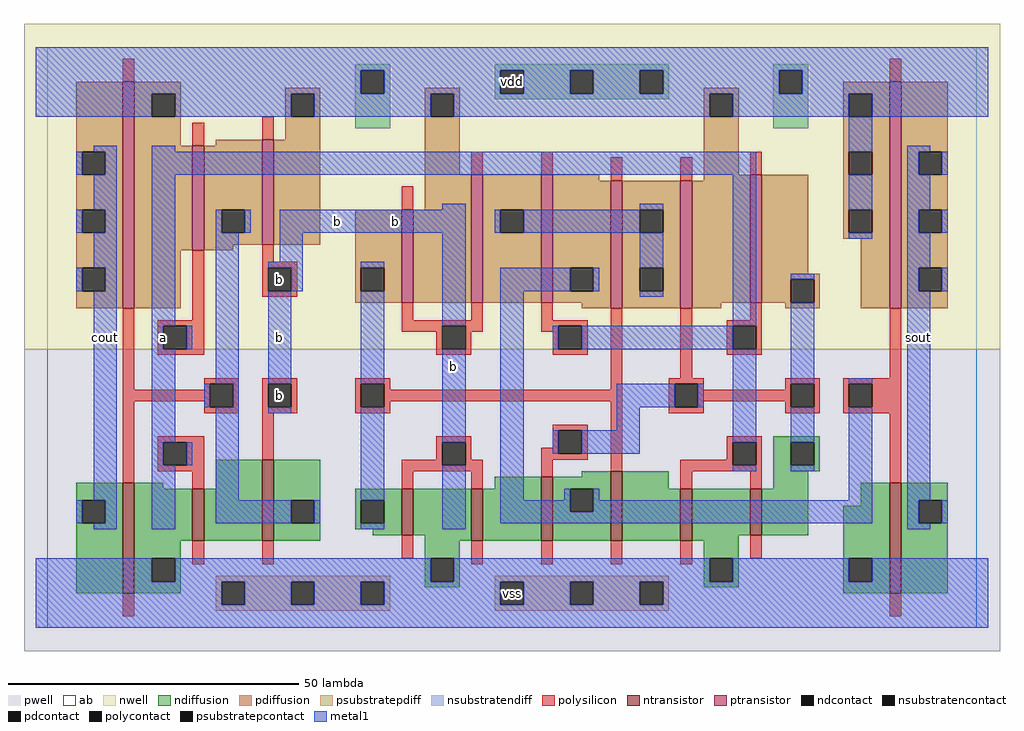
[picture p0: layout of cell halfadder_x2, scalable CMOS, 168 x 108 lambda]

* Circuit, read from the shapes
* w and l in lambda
.subckt halfadder_x2 a b cout sout vdd vss
M1 vss n1 cout vss nfet w=19 l=2
M2 n2 a vss vss nfet w=9 l=2
M3 n1 b n2 vss nfet w=14 l=2
M4 vss b n3 vss nfet w=8 l=2
M5 n4 b vss vss nfet w=9 l=2
M6 n5 n6 n4 vss nfet w=11 l=2
M7 n7 n3 n5 vss nfet w=12 l=2
M8 vss a n7 vss nfet w=9 l=2
M9 n6 a vss vss nfet w=8 l=2
M10 sout n5 vss vss nfet w=19 l=2
M11 vdd n1 cout vdd pfet w=39 l=2
M12 n1 a vdd vdd pfet w=18 l=2
M13 vdd b n1 vdd pfet w=18 l=2
M14 vdd b n3 vdd pfet w=16 l=2
M15 n8 b vdd vdd pfet w=22 l=2
M16 n5 a n8 vdd pfet w=22 l=2
M17 n8 n3 n5 vdd pfet w=22 l=2
M18 vdd n6 n8 vdd pfet w=22 l=2
M19 n6 a vdd vdd pfet w=22 l=2
M20 sout n5 vdd vdd pfet w=39 l=2
.ends

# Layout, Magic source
magic
tech scmos
<< ab >>
rect 0 0 160 100
<< pwell >>
rect -4 -4 164 48
<< nwell >>
rect -4 48 164 104
<< polysilicon >>
rect 13 94 15 98
rect 25 83 27 87
rect 37 84 39 88
rect 73 78 75 82
rect 85 78 87 82
rect 61 72 63 76
rect 13 41 15 55
rect 25 53 27 65
rect 37 63 39 66
rect 37 62 43 63
rect 37 58 38 62
rect 42 58 43 62
rect 37 57 43 58
rect 97 77 99 81
rect 109 77 111 81
rect 145 94 147 98
rect 121 78 123 82
rect 19 52 27 53
rect 19 48 20 52
rect 24 48 27 52
rect 61 53 63 56
rect 73 53 75 56
rect 61 52 75 53
rect 61 51 68 52
rect 19 47 27 48
rect 67 48 68 51
rect 72 51 75 52
rect 85 53 87 56
rect 85 52 93 53
rect 85 51 88 52
rect 72 48 73 51
rect 67 47 73 48
rect 87 48 88 51
rect 92 48 93 52
rect 87 47 93 48
rect 27 42 33 43
rect 27 41 28 42
rect 13 39 28 41
rect 13 25 15 39
rect 27 38 28 39
rect 32 38 33 42
rect 27 37 33 38
rect 37 42 43 43
rect 37 38 38 42
rect 42 38 43 42
rect 37 37 43 38
rect 53 42 59 43
rect 53 38 54 42
rect 58 41 59 42
rect 97 41 99 55
rect 109 43 111 55
rect 121 53 123 56
rect 117 52 123 53
rect 117 48 118 52
rect 122 48 123 52
rect 117 47 123 48
rect 145 43 147 55
rect 58 39 99 41
rect 58 38 59 39
rect 53 37 59 38
rect 19 32 27 33
rect 19 28 20 32
rect 24 28 27 32
rect 37 29 39 37
rect 87 34 93 35
rect 67 32 73 33
rect 67 29 68 32
rect 19 27 27 28
rect 25 24 27 27
rect 61 28 68 29
rect 72 29 73 32
rect 87 31 88 34
rect 85 30 88 31
rect 92 30 93 34
rect 85 29 93 30
rect 72 28 75 29
rect 61 27 75 28
rect 61 24 63 27
rect 73 24 75 27
rect 85 26 87 29
rect 97 27 99 39
rect 107 42 113 43
rect 107 38 108 42
rect 112 41 113 42
rect 127 42 133 43
rect 127 41 128 42
rect 112 39 128 41
rect 112 38 113 39
rect 107 37 113 38
rect 127 38 128 39
rect 132 38 133 42
rect 127 37 133 38
rect 137 42 147 43
rect 137 38 138 42
rect 142 38 147 42
rect 137 37 147 38
rect 117 32 123 33
rect 117 29 118 32
rect 109 28 118 29
rect 122 28 123 32
rect 109 27 123 28
rect 25 11 27 15
rect 37 11 39 15
rect 61 12 63 16
rect 109 24 111 27
rect 121 24 123 27
rect 145 25 147 37
rect 13 2 15 6
rect 73 11 75 15
rect 85 11 87 15
rect 97 11 99 15
rect 109 11 111 15
rect 121 12 123 16
rect 145 2 147 6
<< ndiffusion >>
rect 5 22 13 25
rect 5 18 6 22
rect 10 18 13 22
rect 5 6 13 18
rect 15 24 20 25
rect 29 24 37 29
rect 15 15 25 24
rect 27 15 37 24
rect 39 22 47 29
rect 92 26 97 27
rect 77 24 85 26
rect 39 18 42 22
rect 46 18 47 22
rect 39 15 47 18
rect 53 22 61 24
rect 53 18 54 22
rect 58 18 61 22
rect 53 17 61 18
rect 56 16 61 17
rect 63 16 73 24
rect 15 12 23 15
rect 15 8 18 12
rect 22 8 23 12
rect 65 15 73 16
rect 75 15 85 24
rect 87 24 97 26
rect 87 20 90 24
rect 94 20 97 24
rect 87 15 97 20
rect 99 24 107 27
rect 125 32 133 33
rect 125 28 128 32
rect 132 28 133 32
rect 125 27 133 28
rect 125 24 131 27
rect 99 15 109 24
rect 111 16 121 24
rect 123 16 131 24
rect 140 21 145 25
rect 111 15 119 16
rect 65 12 71 15
rect 15 6 23 8
rect 65 8 66 12
rect 70 8 71 12
rect 113 12 119 15
rect 137 12 145 21
rect 65 7 71 8
rect 113 8 114 12
rect 118 8 119 12
rect 113 7 119 8
rect 137 8 138 12
rect 142 8 145 12
rect 137 6 145 8
rect 147 22 155 25
rect 147 18 150 22
rect 154 18 155 22
rect 147 6 155 18
<< pdiffusion >>
rect 5 82 13 94
rect 5 78 6 82
rect 10 78 13 82
rect 5 72 13 78
rect 5 68 6 72
rect 10 68 13 72
rect 5 62 13 68
rect 5 58 6 62
rect 10 58 13 62
rect 5 55 13 58
rect 15 92 23 94
rect 15 88 18 92
rect 22 88 23 92
rect 41 92 47 93
rect 41 88 42 92
rect 46 88 47 92
rect 15 83 23 88
rect 41 84 47 88
rect 65 92 71 93
rect 65 88 66 92
rect 70 88 71 92
rect 113 92 119 93
rect 29 83 37 84
rect 15 65 25 83
rect 27 72 37 83
rect 27 68 30 72
rect 34 68 37 72
rect 27 66 37 68
rect 39 66 47 84
rect 65 78 71 88
rect 113 88 114 92
rect 118 88 119 92
rect 65 72 73 78
rect 27 65 32 66
rect 15 55 23 65
rect 53 62 61 72
rect 53 58 54 62
rect 58 58 61 62
rect 53 56 61 58
rect 63 56 73 72
rect 75 72 85 78
rect 75 68 78 72
rect 82 68 85 72
rect 75 56 85 68
rect 87 77 95 78
rect 113 78 119 88
rect 137 92 145 94
rect 137 88 138 92
rect 142 88 145 92
rect 137 82 145 88
rect 137 78 138 82
rect 142 78 145 82
rect 113 77 121 78
rect 87 62 97 77
rect 87 58 90 62
rect 94 58 97 62
rect 87 56 97 58
rect 92 55 97 56
rect 99 72 109 77
rect 99 68 102 72
rect 106 68 109 72
rect 99 62 109 68
rect 99 58 102 62
rect 106 58 109 62
rect 99 55 109 58
rect 111 56 121 77
rect 123 61 131 78
rect 137 72 145 78
rect 137 68 138 72
rect 142 68 145 72
rect 137 67 145 68
rect 123 60 133 61
rect 123 56 128 60
rect 132 56 133 60
rect 111 55 116 56
rect 127 55 133 56
rect 140 55 145 67
rect 147 82 155 94
rect 147 78 150 82
rect 154 78 155 82
rect 147 72 155 78
rect 147 68 150 72
rect 154 68 155 72
rect 147 62 155 68
rect 147 58 150 62
rect 154 58 155 62
rect 147 55 155 58
<< metal1 >>
rect -2 96 162 100
rect -2 92 54 96
rect 58 92 78 96
rect 82 92 90 96
rect 94 92 102 96
rect 106 92 126 96
rect 130 92 162 96
rect -2 88 18 92
rect 22 88 42 92
rect 46 88 66 92
rect 70 88 114 92
rect 118 88 138 92
rect 142 88 162 92
rect 8 82 12 83
rect 5 78 6 82
rect 10 78 12 82
rect 8 72 12 78
rect 5 68 6 72
rect 10 68 12 72
rect 8 62 12 68
rect 5 58 6 62
rect 10 58 12 62
rect 8 22 12 58
rect 5 18 6 22
rect 10 18 12 22
rect 8 17 12 18
rect 18 82 22 83
rect 138 82 142 88
rect 18 78 122 82
rect 18 52 22 78
rect 68 72 72 73
rect 102 72 106 73
rect 29 68 30 72
rect 34 68 35 72
rect 40 68 72 72
rect 77 68 78 72
rect 82 68 102 72
rect 18 48 20 52
rect 24 48 25 52
rect 18 32 22 48
rect 29 42 33 68
rect 40 63 44 68
rect 27 38 28 42
rect 32 38 33 42
rect 18 28 20 32
rect 24 28 25 32
rect 18 17 22 28
rect 29 22 33 38
rect 38 62 44 63
rect 42 58 44 62
rect 54 62 58 63
rect 38 42 42 58
rect 38 37 42 38
rect 54 42 58 58
rect 54 22 58 38
rect 29 18 42 22
rect 46 18 47 22
rect 54 17 58 18
rect 68 52 72 68
rect 102 62 106 68
rect 68 32 72 48
rect 68 17 72 28
rect 78 58 90 62
rect 94 58 95 62
rect 78 22 82 58
rect 102 57 106 58
rect 118 52 122 78
rect 138 72 142 78
rect 138 67 142 68
rect 148 82 152 83
rect 148 78 150 82
rect 154 78 155 82
rect 148 72 152 78
rect 148 68 150 72
rect 154 68 155 72
rect 148 62 152 68
rect 87 48 88 52
rect 92 48 118 52
rect 98 38 108 42
rect 112 38 113 42
rect 98 34 102 38
rect 87 30 88 34
rect 92 30 102 34
rect 118 32 122 48
rect 118 27 122 28
rect 128 60 132 61
rect 128 42 132 56
rect 148 58 150 62
rect 154 58 155 62
rect 128 32 132 38
rect 128 27 132 28
rect 138 42 142 43
rect 89 22 90 24
rect 78 20 90 22
rect 94 22 95 24
rect 138 22 142 38
rect 94 20 142 22
rect 78 18 142 20
rect 148 22 152 58
rect 148 18 150 22
rect 154 18 155 22
rect 148 17 152 18
rect -2 8 18 12
rect 22 8 66 12
rect 70 8 114 12
rect 118 8 138 12
rect 142 8 162 12
rect -2 4 30 8
rect 34 4 42 8
rect 46 4 54 8
rect 58 4 78 8
rect 82 4 90 8
rect 94 4 102 8
rect 106 4 162 8
rect -2 0 162 4
<< ntransistor >>
rect 13 6 15 25
rect 25 15 27 24
rect 37 15 39 29
rect 61 16 63 24
rect 73 15 75 24
rect 85 15 87 26
rect 97 15 99 27
rect 109 15 111 24
rect 121 16 123 24
rect 145 6 147 25
<< ptransistor >>
rect 13 55 15 94
rect 25 65 27 83
rect 37 66 39 84
rect 61 56 63 72
rect 73 56 75 78
rect 85 56 87 78
rect 97 55 99 77
rect 109 55 111 77
rect 121 56 123 78
rect 145 55 147 94
<< polycontact >>
rect 38 58 42 62
rect 20 48 24 52
rect 68 48 72 52
rect 88 48 92 52
rect 28 38 32 42
rect 38 38 42 42
rect 54 38 58 42
rect 118 48 122 52
rect 20 28 24 32
rect 68 28 72 32
rect 88 30 92 34
rect 108 38 112 42
rect 128 38 132 42
rect 138 38 142 42
rect 118 28 122 32
<< ndcontact >>
rect 6 18 10 22
rect 42 18 46 22
rect 54 18 58 22
rect 18 8 22 12
rect 90 20 94 24
rect 128 28 132 32
rect 66 8 70 12
rect 114 8 118 12
rect 138 8 142 12
rect 150 18 154 22
<< pdcontact >>
rect 6 78 10 82
rect 6 68 10 72
rect 6 58 10 62
rect 18 88 22 92
rect 42 88 46 92
rect 66 88 70 92
rect 30 68 34 72
rect 114 88 118 92
rect 54 58 58 62
rect 78 68 82 72
rect 138 88 142 92
rect 138 78 142 82
rect 90 58 94 62
rect 102 68 106 72
rect 102 58 106 62
rect 138 68 142 72
rect 128 56 132 60
rect 150 78 154 82
rect 150 68 154 72
rect 150 58 154 62
<< psubstratepcontact >>
rect 30 4 34 8
rect 42 4 46 8
rect 54 4 58 8
rect 78 4 82 8
rect 90 4 94 8
rect 102 4 106 8
<< nsubstratencontact >>
rect 54 92 58 96
rect 78 92 82 96
rect 90 92 94 96
rect 102 92 106 96
rect 126 92 130 96
<< psubstratepdiff >>
rect 29 8 59 9
rect 29 4 30 8
rect 34 4 42 8
rect 46 4 54 8
rect 58 4 59 8
rect 77 8 107 9
rect 29 3 59 4
rect 77 4 78 8
rect 82 4 90 8
rect 94 4 102 8
rect 106 4 107 8
rect 77 3 107 4
<< nsubstratendiff >>
rect 53 96 59 97
rect 53 92 54 96
rect 58 92 59 96
rect 77 96 107 97
rect 53 86 59 92
rect 77 92 78 96
rect 82 92 90 96
rect 94 92 102 96
rect 106 92 107 96
rect 125 96 131 97
rect 77 91 107 92
rect 125 92 126 96
rect 130 92 131 96
rect 125 86 131 92
<< labels >>
rlabel metal1 20 50 20 50 6 a
rlabel metal1 10 50 10 50 6 cout
rlabel polycontact 40 40 40 40 6 b
rlabel metal1 40 50 40 50 6 b
rlabel polycontact 40 60 40 60 6 b
rlabel metal1 50 70 50 70 6 b
rlabel metal1 60 70 60 70 6 b
rlabel psubstratepcontact 80 6 80 6 6 vss
rlabel metal1 70 45 70 45 6 b
rlabel nsubstratencontact 80 94 80 94 6 vdd
rlabel metal1 150 50 150 50 6 sout
<< end >>
